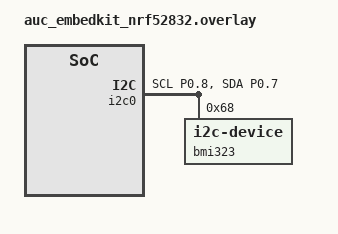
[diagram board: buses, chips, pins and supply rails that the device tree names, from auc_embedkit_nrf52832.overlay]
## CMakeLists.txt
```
cmake_minimum_required(VERSION 3.20.0)
find_package(Zephyr REQUIRED HINTS $ENV{ZEPHYR_BASE})

project(L3)

target_sources(app PRIVATE src/main.c)


# add all the source files (.c) files to be included in our build
# the '.c' files exists in 2 place (BMI323_SensorAPI/) and (BMI323_SensorAPI/examples/common)
# documentation can be found at: https://cmake.org/cmake/help/latest/command/target_sources.html 
target_sources(app PRIVATE BMI323_SensorAPI/bmi3.c; BMI323_SensorAPI/bmi323.c;
                    BMI323_SensorAPI/examples/common/common.c)

# include all the header files
# documentation can be found at: https://cmake.org/cmake/help/latest/command/target_include_directories.html#command:target_include_directories 
target_include_directories(app PRIVATE BMI323_SensorAPI; BMI323_SensorAPI/examples/common)
```

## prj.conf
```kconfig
CONFIG_I2C=y
CONFIG_FPU=y
CONFIG_CONSOLE=y
CONFIG_USE_SEGGER_RTT=y
CONFIG_RTT_CONSOLE=y
```

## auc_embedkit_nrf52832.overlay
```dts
// To get started, press Ctrl+Space to bring up the completion menu and view the available nodes.

// You can also use the buttons in the sidebar to perform actions on nodes.
// Actions currently available include:

// * Enabling / disabling the node
// * Adding the bus to a bus
// * Removing the node
// * Connecting ADC channels

// For more help, browse the DeviceTree documentation at https://docs.zephyrproject.org/latest/guides/dts/index.html
// You can also visit the nRF DeviceTree extension documentation at https://docs.nordicsemi.com/bundle/nrf-connect-vscode/page/guides/ncs_configure_app.html#devicetree-support-in-the-extension

&i2c0 {
	status = "okay";
	pinctrl-0 = <&i2c0_default>;
	pinctrl-names = "default";

    bmi323: bmi323@68{
        compatible = "i2c-device";
        reg = <0x68>;
        label="bmi323";
    };
};

&gpiote {
	status = "okay";
};

&pinctrl {
	i2c0_default: i2c0_default {
		group1 {
			psels = <NRF_PSEL(TWIM_SCL, 0, 8)>, <NRF_PSEL(TWIM_SDA, 0, 7)>;
		};
	};
};
```

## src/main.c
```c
/******************************************************************************/
/*!                 Header Files                                              */

#include <zephyr/kernel.h>

// include the printk function file header
#include <zephyr/sys/printk.h>

// include the common header file that will be used in conjunction with BMI323 drivers
#include <common.h>

// include bmi323 API function haeders
#include <bmi323.h>

// include the math library
#include <math.h>

// this code was taken from the '<BMI323_SensorAPI/examples/accel/accel.c>' example

/******************************************************************************/
/*!         Macros definition                                                 */

/*! Earth's gravity in m/s^2 */
#define GRAVITY_EARTH  (9.80665f)

/******************************************************************************/
/*!           Static Function Declaration                                     */

/*!
 *  @brief This internal API is used to set configurations for accel.
 *
 *  @param[in] dev       : Structure instance of bmi3_dev.
 *
 *  @return Status of execution.
 */
static int8_t set_accel_config(struct bmi3_dev *dev);

/*!
 *  @brief This internal function converts lsb to meter per second squared for 16 bit accelerometer for
 *  range 2G, 4G, 8G or 16G.
 *
 *  @param[in] val       : LSB from each axis.
 *  @param[in] g_range   : Gravity range.
 *  @param[in] bit_width : Resolution for accel.
 *
 *  @return Accel values in meter per second squared.
 */
static float lsb_to_g(int16_t val, int8_t g_range, uint8_t bit_width);

/*!
 *  @brief This internal API is used to set configurations for gyro.
 *
 *  @param[in] dev       : Structure instance of bmi3_dev.
 *
 *  @return Status of execution.
 */
static int8_t set_gyro_config(struct bmi3_dev *dev);

/*!
 *  @brief This function converts lsb to degree per second for 16 bit gyro at
 *  range 125, 250, 500, 1000 or 2000dps.
 *
 *  @param[in] val       : LSB from each axis.
 *  @param[in] dps       : Degree per second.
 *  @param[in] bit_width : Resolution for gyro.
 *
 *  @return Degree per second.
 */
static float lsb_to_dps(int16_t val, float dps, uint8_t bit_width);


/******************************************************************************/
/*!            Functions                                                      */


/**
 * Main Funciton
 */
int main(void)
{
    /* Sensor initialization configuration. */
    struct bmi3_dev dev = { 0 };

    /* Status of API are returned to this variable. */
    int8_t rslt;

    /* Create an instance of sensor data structure. */
    struct bmi3_sensor_data acc_sensor_data = { 0 };
    struct bmi3_sensor_data gyr_sensor_data = { 0 };

    /* Initialize the interrupt status of accel. */
    uint16_t sens_status = 0;

    // dummy variable for printing current line
    uint8_t indx = 0;

    /** acceleration values in m/s^2 */
    float acc_x = 0, acc_y = 0, acc_z = 0;

    /** gyroscope values in degree/s */
    float gyr_x = 0, gyr_y = 0, gyr_z = 0;

    /* Select both accel and gyro sensor. */
    acc_sensor_data.type = BMI323_ACCEL;
    gyr_sensor_data.type = BMI323_GYRO;

    /* Function to select interface between SPI and I2C, according to that the device structure gets updated.
     * Interface reference is given as a parameter
     * For I2C : BMI3_I2C_INTF
     * For SPI : BMI3_SPI_INTF
     */
    rslt = bmi3_interface_init(&dev, BMI3_I2C_INTF);
    bmi3_error_codes_print_result("bmi3_interface_init", rslt);

    /* Initialize bmi323. */
    rslt = bmi323_init(&dev);
    bmi3_error_codes_print_result("bmi323_init", rslt);

    if (rslt == BMI323_OK)
    {
        /* Accel configuration settings. */
        rslt = set_accel_config(&dev);
        bmi3_error_codes_print_result("accel config set", rslt);

        /* Gyroscope configuration settings. */
        rslt = set_gyro_config(&dev);
        

        if (rslt == BMI323_OK)
        {
            printk("\n\r");
            printk("----------------------------------------------------------------------------------\n\r");
            printk("Data set, Acc_Raw_X, Acc_Raw_Y, Acc_Raw_Z, Acc_g_X, Acc_g_Y, Acc_g_Z\n\r");
            printk("Data set, Gyr_Raw_X, Gyr_Raw_Y, Gyr_Raw_Z, Gyr_dps_X, Gyr_dps_Y, Gyr_dps_Z\n\r");
            printk("----------------------------------------------------------------------------------\n\r");


            // infinite loop
            while (1)
            {
                /* To get the status of accel data ready interrupt. */
                rslt = bmi323_get_sensor_status(&sens_status, &dev);
                bmi3_error_codes_print_result("bmi323_get_int1_status", rslt);

                /* To check the accel data ready status and print the status.*/
                /* The problem with the below line is that it waits till both Acc and Gyro data are ready */
                if ((sens_status & BMI3_STATUS_DRDY_ACC) && (sens_status && BMI3_STATUS_DRDY_GYR))
                {
                    /* Get accelerometer data for x, y and z axis. 1 is the number of readings to get*/
                    rslt = bmi323_get_sensor_data(&acc_sensor_data, 1, &dev);
                    bmi3_error_codes_print_result("Get sensor data", rslt);

                    /* Get gyro data for x, y and z axis */
                    rslt = bmi323_get_sensor_data(&gyr_sensor_data, 1, &dev);
                    bmi3_error_codes_print_result("Get sensor data", rslt);

                    /* Converting lsb to g for 16 bit accelerometer at 4G range. */
                    acc_x = lsb_to_g(acc_sensor_data.sens_data.acc.x, 4, dev.resolution);
                    acc_y = lsb_to_g(acc_sensor_data.sens_data.acc.y, 4, dev.resolution);
                    acc_z = lsb_to_g(acc_sensor_data.sens_data.acc.z, 4, dev.resolution);
                    
                    /* Converting lsb to degree per second for 16 bit gyro at 500dps range. */
                    gyr_x = lsb_to_dps(gyr_sensor_data.sens_data.gyr.x, (float)500, dev.resolution);
                    gyr_y = lsb_to_dps(gyr_sensor_data.sens_data.gyr.y, (float)500, dev.resolution);
                    gyr_z = lsb_to_dps(gyr_sensor_data.sens_data.gyr.z, (float)500, dev.resolution);

                    /* Print the data in g units for serial monitor. */
                    /* %4.2d means to use at least 4 places for the decimal part and exactly 2 places for the fracitonal part*/
                    printk("------------------------------------\n\r");
                    printk("%d, %d, %d, %d, %4.2f g, %4.2f g, %4.2f g\n\r",
                           indx,
                           acc_sensor_data.sens_data.acc.x,
                           acc_sensor_data.sens_data.acc.y,
                           acc_sensor_data.sens_data.acc.z,
                           acc_x,
                           acc_y,
                           acc_z);
                    printk("%d, %d, %d, %d, %4.2f dsp, %4.2f dsp, %4.2f dsp\n\r",
                           indx,
                           gyr_sensor_data.sens_data.gyr.x,
                           gyr_sensor_data.sens_data.gyr.y,
                           gyr_sensor_data.sens_data.gyr.z,
                           gyr_x,
                           gyr_y,
                           gyr_z);
                    // printk("------------------------------------\n\r");
                    

                   /* Print the data in g units for serial plotter. */
                   /* Note: no special characters are allowed as labels like '_' or '-', etc... */
                    // printk("ACCx%4.2f", acc_x);
                    // printk("ACCy%4.2f", acc_y);
                    // printk("ACCz%4.2f", acc_z);
                    // printk("GYROx%4.2f", gyr_x);
                    // printk("GYROy%4.2f", gyr_y);
                    // printk("GYROz%4.2f", gyr_z); 

                    // printk("\n\r");
                
                    indx++;
                }

                // sample a new reading every 20 mS (running at ~50HZ)
                k_msleep(20);
            }
        }
    }

    return 0;
}

/*!
 * @brief This internal API is used to set configurations for accel.
 * 
 */
static int8_t set_accel_config(struct bmi3_dev *dev)
{
    /* Status of API are returned to this variable. */
    int8_t rslt;

    /* Structure to define accelerometer configuration. */
    struct bmi3_sens_config config;

    /* Configure the type of feature. */
    config.type = BMI323_ACCEL;

    /* Get default configurations for the type of feature selected. */
    rslt = bmi323_get_sensor_config(&config, 1, dev);
    bmi3_error_codes_print_result("bmi323_get_sensor_config", rslt);

    if (rslt == BMI323_OK)
    {

        /* NOTE: The user can change the following configuration parameters according to their requirement. */
        /* Output Data Rate. By default ODR is set as 100Hz for accel. */
        config.cfg.acc.odr = BMI3_ACC_ODR_100HZ;

        /* Gravity range of the sensor (+/- 2G, 4G, 8G, 16G). */
        config.cfg.acc.range = BMI3_ACC_RANGE_4G;

        /* The Accel bandwidth coefficient defines the 3 dB cutoff frequency in relation to the ODR. */
        /* In other words, it defines the bandwidth limits upon which the low pass filter will act */
        config.cfg.acc.bwp = BMI3_ACC_BW_ODR_QUARTER;

        /* Set number of average samples for accel. in other words, its output is the average of the most recent 8 samples*/
        config.cfg.acc.avg_num = BMI3_ACC_AVG8;

        /* Enable the accel mode where averaging of samples
        * will be done based on above set bandwidth and ODR.
        * Note : By default accel is disabled. The accel will get enable by selecting the mode.
        */
        config.cfg.acc.acc_mode = BMI3_ACC_MODE_NORMAL;

        /* Set the accel configurations. */
        rslt = bmi323_set_sensor_config(&config, 1, dev);
        bmi3_error_codes_print_result("bmi323_set_sensor_config", rslt);
        
    }

    return rslt;
}

/*!
 * @brief This function converts lsb to meter per second squared for 16 bit accelerometer at
 * range 2G, 4G, 8G or 16G.
 * 
 * @details: 
 *      this function works as follows -:
 *          'val' is the returned number from the accelerometer which is by default a 16-bit value 
 *                 ranging between -32768 and 32767 all-inclusive.
 *          we will first normalize this number to be in the range of '-1 to 1'. we will need to just divide 'val' by 
 *              its maximum value which is stored in the variable 'half_scale' according to the bitwidth of 'val'
 *          then depending on the sensor range whether it's '±2G', '±4G', '±8G' or '±16G'. We will map the values '-1 to 1' to 
 *              the range of 'g_range' by simple multiplication. if 
 */     
static float lsb_to_g(int16_t val, int8_t g_range, uint8_t bit_width)
{
    double power = 2;

    float half_scale = (float)((pow((double)power, (double)bit_width) / 2.0f));

    return (val * g_range) / half_scale;
}


/*!
 *  @brief This internal API is used to set configurations for gyro.
 */
static int8_t set_gyro_config(struct bmi3_dev *dev)
{

    /* Status of API are returned to this variable. */
    int8_t rslt;

    /* Structure to define the type of sensor and its configurations. */
    struct bmi3_sens_config config;

    /* Configure the type of feature. */
    config.type = BMI323_GYRO;

    /* Get default configurations for the type of feature selected. */
    rslt = bmi323_get_sensor_config(&config, 1, dev);
    bmi3_error_codes_print_result("Get sensor config", rslt);

    if (rslt == BMI323_OK)
    {

        /* The user can change the following configuration parameters according to their requirement. */
        /* Output Data Rate. By default ODR is set as 100Hz for gyro. */
        config.cfg.gyr.odr = BMI3_GYR_ODR_100HZ;

        /* Gyroscope Angular Rate Measurement Range. By default the range is 2000dps. */
        config.cfg.gyr.range = BMI3_GYR_RANGE_500DPS;

        /*  The Gyroscope bandwidth coefficient defines the 3 dB cutoff frequency in relation to the ODR
            *  Value   Name      Description
            *    0   odr_half   BW = gyr_odr/2
            *    1  odr_quarter BW = gyr_odr/4
            */
        config.cfg.gyr.bwp = BMI3_GYR_BW_ODR_HALF;

        /* By default the gyro is disabled. Gyro is enabled by selecting the mode. */
        config.cfg.gyr.gyr_mode = BMI3_GYR_MODE_NORMAL;

        /* Value    Name    Description
            *  000     avg_1   No averaging; pass sample without filtering
            *  001     avg_2   Averaging of 2 samples
            *  010     avg_4   Averaging of 4 samples
            *  011     avg_8   Averaging of 8 samples
            *  100     avg_16  Averaging of 16 samples
            *  101     avg_32  Averaging of 32 samples
            *  110     avg_64  Averaging of 64 samples
            */
        config.cfg.gyr.avg_num = BMI3_GYR_AVG1;

        /* Set the gyro configurations. */
        rslt = bmi323_set_sensor_config(&config, 1, dev);
        bmi3_error_codes_print_result("Set sensor config", rslt);
        
    }

    return rslt;
}

/*!
 * @brief This function converts lsb to degree per second for 16 bit gyro at
 * range 125, 250, 500, 1000 or 2000dps.
 * 
 * @details
 *      this function works as follows -:
 *          'val' is the returned number from the gyroscope which is by default a 16-bit value 
 *                 ranging between -32768 and 32767 all-inclusive.
 *          we will first normalize this number to be in the range of '-1 to 1'. we will need to just divide 'val' by 
 *              its maximum value which is stored in the variable 'half_scale' according to the bitwidth of 'val'
 *          then depending on the sensor range whether it's '±125dps', '±250dps', '±500dps', '±1000dps' or '±2000'. We will map the values '-1 to 1' to 
 *              the range of 'dps' by simple multiplication.
 */
static float lsb_to_dps(int16_t val, float dps, uint8_t bit_width)
{
    double power = 2;

    float half_scale = (float)((pow((double)power, (double)bit_width) / 2.0f));

    return (dps / (half_scale)) * (val);
}
```
